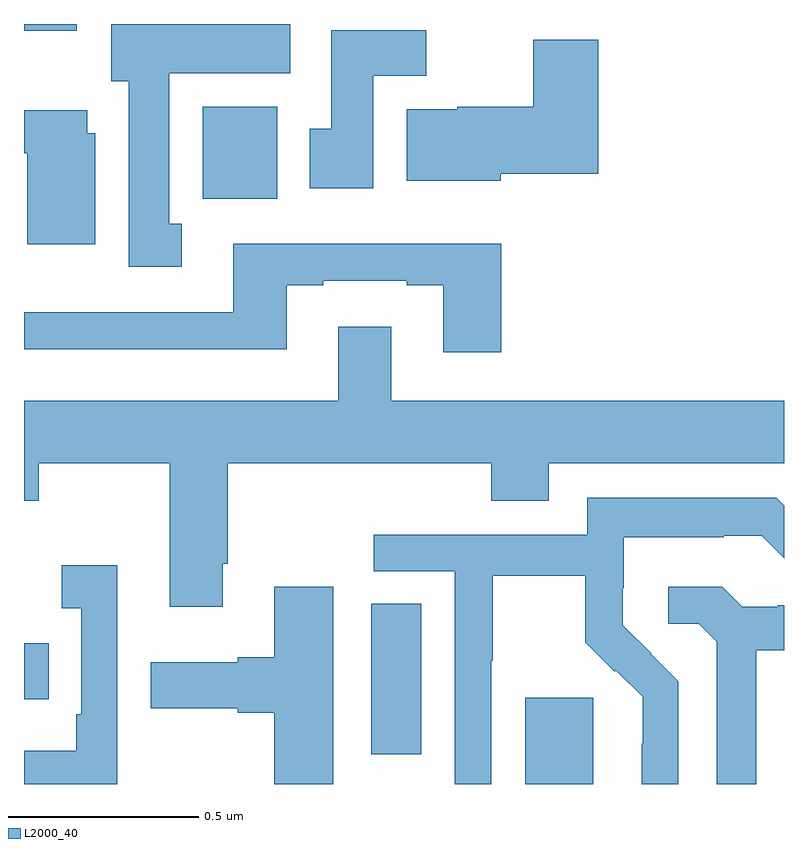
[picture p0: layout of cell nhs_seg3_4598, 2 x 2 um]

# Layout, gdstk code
import gdstk
lib = gdstk.Library(unit=1e-6, precision=1e-09)
def R(c, l, rs):  # rectangles x0, y0, x1, y1
    for r in rs: c.add(gdstk.rectangle(r[:2], r[2:], *l))
def P(c, l, *ps):  # polygons
    for p in ps: c.add(gdstk.Polygon(p, *l))
L2000_40 = (2000, 40)

nhs_seg3_4598 = lib.new_cell('nhs_seg3_4598')
R(nhs_seg3_4598, L2000_40, [(169.319,705.4,169.498,705.627), (168.914,705.478,169.045,705.875), (168,705.623,168.065,705.771), (168.47,706.94,168.667,707.182), (168,707.382,168.139,707.4)])
P(nhs_seg3_4598, L2000_40, [(168.415,706.874),(168.382,706.874),(168.382,707.27),(168.7,707.27),(168.7,707.4),(168.23,707.4),(168.23,707.25),(168.275,707.25),(168.275,706.761),(168.415,706.761)],
  [(168.919,707.264),(169.058,707.264),(169.058,707.383),(168.809,707.383),(168.809,707.124),(168.752,707.124),(168.752,706.968),(168.919,706.968)],
  [(169.254,707.006),(169.511,707.006),(169.511,707.359),(169.34,707.359),(169.34,707.182),(169.14,707.182),(169.14,707.176),(169.007,707.176),(169.007,706.988),(169.254,706.988)],
  [(168.187,707.112),(168.166,707.112),(168.166,707.173),(168,707.173),(168,707.06),(168.008,707.06),(168.008,706.82),(168.187,706.82)],
  [(169.256,706.822),(168.551,706.822),(168.551,706.641),(168,706.641),(168,706.544),(168.691,706.544),(168.691,706.713),(168.787,706.713),(168.787,706.725),(169.007,706.725),(169.007,706.713),(169.103,706.713),(169.103,706.536),(169.256,706.536)],
  [(168.523,705.979),(168.536,705.979),(168.536,706.244),(169.229,706.244),(169.229,706.145),(169.381,706.145),(169.381,706.244),(170,706.244),(170,706.408),(168.967,706.408),(168.967,706.603),(168.827,706.603),(168.827,706.408),(168,706.408),(168,706.145),(168.039,706.145),(168.039,706.244),(168.383,706.244),(168.383,705.867),(168.523,705.867)],
  [(169.23,705.724),(169.233,705.724),(169.233,705.948),(169.477,705.948),(169.477,705.773),(169.554,705.696),(169.557,705.699),(169.628,705.629),(169.628,705.506),(169.626,705.506),(169.626,705.4),(169.722,705.4),(169.722,705.67),(169.649,705.743),(169.65,705.744),(169.576,705.818),(169.576,705.915),(169.578,705.915),(169.578,706.049),(169.841,706.049),(169.841,706.053),(169.941,706.053),(170,705.994),(170,706.132),(169.979,706.153),(169.482,706.153),(169.482,706.056),(168.921,706.056),(168.921,705.96),(169.134,705.96),(169.134,705.4),(169.23,705.4)],
  [(168.246,705.976),(168.099,705.976),(168.099,705.863),(168.15,705.863),(168.15,705.583),(168.138,705.583),(168.138,705.487),(168,705.487),(168,705.4),(168.246,705.4)],
  [(168.814,705.919),(168.659,705.919),(168.659,705.734),(168.563,705.734),(168.563,705.721),(168.333,705.721),(168.333,705.599),(168.563,705.599),(168.563,705.587),(168.659,705.587),(168.659,705.4),(168.814,705.4)],
  [(169.927,705.752),(170,705.752),(170,705.87),(169.984,705.87),(169.984,705.867),(169.89,705.867),(169.838,705.919),(169.695,705.919),(169.695,705.822),(169.776,705.822),(169.823,705.775),(169.823,705.4),(169.927,705.4)])

lib.write_gds('nhs_seg3_4598.gds')
